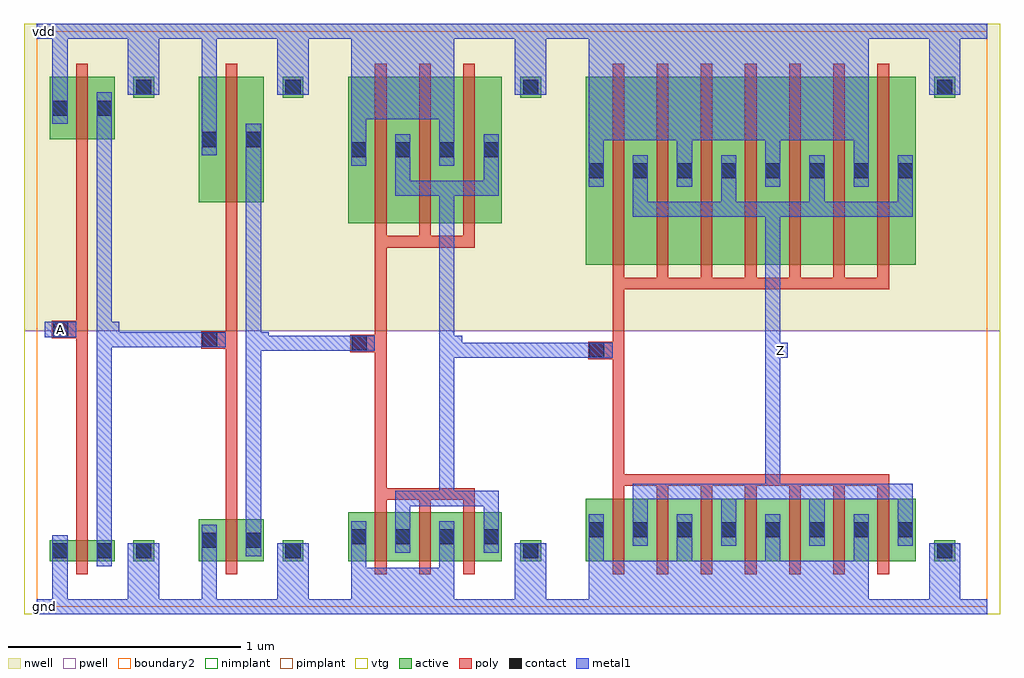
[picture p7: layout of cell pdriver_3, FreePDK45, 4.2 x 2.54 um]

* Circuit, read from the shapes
.subckt pdriver_3 A Z gnd vdd
M1 pinv_6_1/A A gnd gnd nfet w=0.09u l=0.05u
M2 pinv_14_2/A pinv_6_1/A gnd gnd nfet w=0.18u l=0.05u
M3 pinv_15_3/A pinv_14_2/A gnd gnd nfet w=0.21u l=0.05u m=3
M4 Z pinv_15_3/A gnd gnd nfet w=0.27u l=0.05u m=7
M5 pinv_6_1/A A vdd vdd pfet w=0.27u l=0.05u
M6 pinv_14_2/A pinv_6_1/A vdd vdd pfet w=0.54u l=0.05u
M7 pinv_15_3/A pinv_14_2/A vdd vdd pfet w=0.63u l=0.05u m=3
M8 Z pinv_15_3/A vdd vdd pfet w=0.81u l=0.05u m=7
.ends

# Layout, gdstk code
import gdstk
lib = gdstk.Library(unit=1e-6, precision=5e-10)
def R(c, l, rs):  # rectangles x0, y0, x1, y1
    for r in rs: c.add(gdstk.rectangle(r[:2], r[2:], *l))
def A(c, l, x, y, w, h, nx, ny, dx, dy):  # array of equal rectangles
    R(c, l, [(x+i*dx, y+j*dy, x+i*dx+w, y+j*dy+h) for i in range(nx) for j in range(ny)])
active = (1, 0)
pwell = (2, 0)
nwell = (3, 0)
nimplant = (4, 0)
pimplant = (5, 0)
vtg = (6, 0)
poly = (9, 0)
contact = (10, 0)
metal1 = (11, 0)
boundary2 = (239, 0)

contact_11 = lib.new_cell('contact_11')
R(contact_11, active, [(0,0.0225,0.09,0.1125)])
R(contact_11, nwell, [(-0.055,-0.0325,0.145,0.1675)])
R(contact_11, pimplant, [(0,0.0225,0.09,0.1125)])
R(contact_11, contact, [(0.0125,0.035,0.0775,0.1)])
R(contact_11, metal1, [(0.0125,0,0.0775,0.135)])

pmos_m1_w0_270_a_p = lib.new_cell('pmos_m1_w0_270_a_p')
R(pmos_m1_w0_270_a_p, active, [(0,0,0.28,0.27)])
R(pmos_m1_w0_270_a_p, nwell, [(-0.055,-0.055,0.335,0.325)])
R(pmos_m1_w0_270_a_p, pimplant, [(0,0,0.28,0.27)])
R(pmos_m1_w0_270_a_p, vtg, [(-0.055,-0.055,0.335,0.325)])
R(pmos_m1_w0_270_a_p, poly, [(0.115,-0.055,0.165,0.325), (0.115,-0.055,0.165,0.325)])
R(pmos_m1_w0_270_a_p, metal1, [(0.0125,0.0675,0.0775,0.2025), (0.2025,0.0675,0.2675,0.2025)])
R(pmos_m1_w0_270_a_p, boundary2, [(-0.055,-0.055,0.335,0.325)])
pmos_m1_w0_270_a_p.add(gdstk.Reference(contact_11, (0,0.0675)))
pmos_m1_w0_270_a_p.add(gdstk.Reference(contact_11, (0.19,0.0675)))
pmos_m1_w0_270_a_p.add(gdstk.Label('G', (0.14,0.135), layer=9, texttype=0))
pmos_m1_w0_270_a_p.add(gdstk.Label('S', (0.045,0.135), layer=11, texttype=0))
pmos_m1_w0_270_a_p.add(gdstk.Label('D', (0.235,0.135), layer=11, texttype=0))

contact_16 = lib.new_cell('contact_16')
R(contact_16, active, [(0,0.0225,0.09,0.1125)])
R(contact_16, pwell, [(-0.055,-0.0325,0.145,0.1675)])
R(contact_16, nimplant, [(0,0.0225,0.09,0.1125)])
R(contact_16, contact, [(0.0125,0.035,0.0775,0.1)])
R(contact_16, metal1, [(0.0125,0,0.0775,0.135)])

nmos_m1_w0_090_a_p = lib.new_cell('nmos_m1_w0_090_a_p')
R(nmos_m1_w0_090_a_p, active, [(0,0,0.28,0.09)])
R(nmos_m1_w0_090_a_p, pwell, [(-0.055,-0.055,0.335,0.145)])
R(nmos_m1_w0_090_a_p, nimplant, [(0,0,0.28,0.09)])
R(nmos_m1_w0_090_a_p, vtg, [(-0.055,-0.055,0.335,0.145)])
R(nmos_m1_w0_090_a_p, poly, [(0.115,-0.055,0.165,0.145), (0.115,-0.055,0.165,0.145)])
R(nmos_m1_w0_090_a_p, metal1, [(0.0125,-0.0225,0.0775,0.1125), (0.2025,-0.0225,0.2675,0.1125)])
R(nmos_m1_w0_090_a_p, boundary2, [(-0.055,-0.055,0.335,0.145)])
nmos_m1_w0_090_a_p.add(gdstk.Reference(contact_16, (0,-0.0225)))
nmos_m1_w0_090_a_p.add(gdstk.Reference(contact_16, (0.19,-0.0225)))
nmos_m1_w0_090_a_p.add(gdstk.Label('G', (0.14,0.045), layer=9, texttype=0))
nmos_m1_w0_090_a_p.add(gdstk.Label('S', (0.045,0.045), layer=11, texttype=0))
nmos_m1_w0_090_a_p.add(gdstk.Label('D', (0.235,0.045), layer=11, texttype=0))

contact_13 = lib.new_cell('contact_13')
R(contact_13, active, [(0.0225,0,0.1125,0.09)])
R(contact_13, nwell, [(-0.0325,-0.055,0.1675,0.145)])
R(contact_13, nimplant, [(0.0225,0,0.1125,0.09)])
R(contact_13, contact, [(0.035,0.0125,0.1,0.0775)])
R(contact_13, metal1, [(0,0.0125,0.135,0.0775)])

contact_17 = lib.new_cell('contact_17')
R(contact_17, active, [(0.0225,0,0.1125,0.09)])
R(contact_17, pwell, [(-0.0325,-0.055,0.1675,0.145)])
R(contact_17, pimplant, [(0.0225,0,0.1125,0.09)])
R(contact_17, contact, [(0.035,0.0125,0.1,0.0775)])
R(contact_17, metal1, [(0,0.0125,0.135,0.0775)])

contact_12 = lib.new_cell('contact_12')
R(contact_12, poly, [(0.03,0,0.105,0.075)])
R(contact_12, contact, [(0.035,0.005,0.1,0.07)])
R(contact_12, metal1, [(0,0.005,0.135,0.07)])

pinv_5 = lib.new_cell('pinv_5')
R(pinv_5, pwell, [(-0.055,-0.0325,0.6975,1.1875)])
R(pinv_5, nwell, [(-0.055,1.1875,0.6975,2.5075)])
R(pinv_5, vtg, [(-0.055,-0.0325,0.6975,1.1875), (-0.055,1.1875,0.6975,2.5075)])
R(pinv_5, poly, [(0.17,0.34,0.22,1.955), (0.1025,1.155,0.17,1.23)])
R(pinv_5, metal1, [(0,-0.0325,0.6425,0.0325), (0.0675,-0.0325,0.1325,0.1725), (0.3925,0,0.5275,0.24), (0.2575,0.1725,0.3225,2.2125), (0.035,1.16,0.17,1.225), (0.29,1.16,0.355,1.225), (0.0675,2.0775,0.1325,2.5075), (0.3925,2.235,0.5275,2.475), (0,2.4425,0.6425,2.5075)])
R(pinv_5, boundary2, [(0,0,0.6425,2.475)])
pinv_5.add(gdstk.Reference(pmos_m1_w0_270_a_p, (0.055,2.01)))
pinv_5.add(gdstk.Reference(nmos_m1_w0_090_a_p, (0.055,0.195)))
pinv_5.add(gdstk.Reference(contact_13, (0.3925,2.19)))
pinv_5.add(gdstk.Reference(contact_17, (0.3925,0.195)))
pinv_5.add(gdstk.Reference(contact_12, (0.035,1.155)))
pinv_5.add(gdstk.Label('gnd', (0.321,0), layer=11, texttype=0))
pinv_5.add(gdstk.Label('vdd', (0.321,2.475), layer=11, texttype=0))
pinv_5.add(gdstk.Label('A', (0.1025,1.1925), layer=11, texttype=0))
pinv_5.add(gdstk.Label('Z', (0.3225,1.1925), layer=11, texttype=0))

pmos_m1_w0_540_a_p = lib.new_cell('pmos_m1_w0_540_a_p')
R(pmos_m1_w0_540_a_p, active, [(0,0,0.28,0.54)])
R(pmos_m1_w0_540_a_p, nwell, [(-0.055,-0.055,0.335,0.595)])
R(pmos_m1_w0_540_a_p, pimplant, [(0,0,0.28,0.54)])
R(pmos_m1_w0_540_a_p, vtg, [(-0.055,-0.055,0.335,0.595)])
R(pmos_m1_w0_540_a_p, poly, [(0.115,-0.055,0.165,0.595), (0.115,-0.055,0.165,0.595)])
R(pmos_m1_w0_540_a_p, metal1, [(0.0125,0.2025,0.0775,0.3375), (0.2025,0.2025,0.2675,0.3375)])
R(pmos_m1_w0_540_a_p, boundary2, [(-0.055,-0.055,0.335,0.595)])
pmos_m1_w0_540_a_p.add(gdstk.Reference(contact_11, (0,0.2025)))
pmos_m1_w0_540_a_p.add(gdstk.Reference(contact_11, (0.19,0.2025)))
pmos_m1_w0_540_a_p.add(gdstk.Label('G', (0.14,0.27), layer=9, texttype=0))
pmos_m1_w0_540_a_p.add(gdstk.Label('S', (0.045,0.27), layer=11, texttype=0))
pmos_m1_w0_540_a_p.add(gdstk.Label('D', (0.235,0.27), layer=11, texttype=0))

nmos_m1_w0_180_a_p = lib.new_cell('nmos_m1_w0_180_a_p')
R(nmos_m1_w0_180_a_p, active, [(0,0,0.28,0.18)])
R(nmos_m1_w0_180_a_p, pwell, [(-0.055,-0.055,0.335,0.235)])
R(nmos_m1_w0_180_a_p, nimplant, [(0,0,0.28,0.18)])
R(nmos_m1_w0_180_a_p, vtg, [(-0.055,-0.055,0.335,0.235)])
R(nmos_m1_w0_180_a_p, poly, [(0.115,-0.055,0.165,0.235), (0.115,-0.055,0.165,0.235)])
R(nmos_m1_w0_180_a_p, metal1, [(0.0125,0.0225,0.0775,0.1575), (0.2025,0.0225,0.2675,0.1575)])
R(nmos_m1_w0_180_a_p, boundary2, [(-0.055,-0.055,0.335,0.235)])
nmos_m1_w0_180_a_p.add(gdstk.Reference(contact_16, (0,0.0225)))
nmos_m1_w0_180_a_p.add(gdstk.Reference(contact_16, (0.19,0.0225)))
nmos_m1_w0_180_a_p.add(gdstk.Label('G', (0.14,0.09), layer=9, texttype=0))
nmos_m1_w0_180_a_p.add(gdstk.Label('S', (0.045,0.09), layer=11, texttype=0))
nmos_m1_w0_180_a_p.add(gdstk.Label('D', (0.235,0.09), layer=11, texttype=0))

pinv_6 = lib.new_cell('pinv_6')
R(pinv_6, pwell, [(-0.055,-0.0325,0.6975,1.1875)])
R(pinv_6, nwell, [(-0.055,1.1875,0.6975,2.5075)])
R(pinv_6, vtg, [(-0.055,-0.0325,0.6975,1.1875), (-0.055,1.1875,0.6975,2.5075)])
R(pinv_6, poly, [(0.17,0.43,0.22,1.685), (0.1025,1.11,0.17,1.185)])
R(pinv_6, metal1, [(0,-0.0325,0.6425,0.0325), (0.0675,-0.0325,0.1325,0.2175), (0.3925,0,0.5275,0.24), (0.2575,0.2175,0.3225,2.0775), (0.035,1.115,0.17,1.18), (0.29,1.115,0.355,1.18), (0.0675,1.9425,0.1325,2.5075), (0.3925,2.235,0.5275,2.475), (0,2.4425,0.6425,2.5075)])
R(pinv_6, boundary2, [(0,0,0.6425,2.475)])
pinv_6.add(gdstk.Reference(pmos_m1_w0_540_a_p, (0.055,1.74)))
pinv_6.add(gdstk.Reference(nmos_m1_w0_180_a_p, (0.055,0.195)))
pinv_6.add(gdstk.Reference(contact_13, (0.3925,2.19)))
pinv_6.add(gdstk.Reference(contact_17, (0.3925,0.195)))
pinv_6.add(gdstk.Reference(contact_12, (0.035,1.11)))
pinv_6.add(gdstk.Label('gnd', (0.321,0), layer=11, texttype=0))
pinv_6.add(gdstk.Label('vdd', (0.321,2.475), layer=11, texttype=0))
pinv_6.add(gdstk.Label('A', (0.1025,1.1475), layer=11, texttype=0))
pinv_6.add(gdstk.Label('Z', (0.3225,1.1475), layer=11, texttype=0))

pmos_m3_w0_630_a_p = lib.new_cell('pmos_m3_w0_630_a_p')
R(pmos_m3_w0_630_a_p, active, [(0,0,0.66,0.63)])
R(pmos_m3_w0_630_a_p, nwell, [(-0.055,-0.055,0.715,0.685)])
R(pmos_m3_w0_630_a_p, pimplant, [(0,0,0.66,0.63)])
R(pmos_m3_w0_630_a_p, vtg, [(-0.055,-0.055,0.715,0.685)])
A(pmos_m3_w0_630_a_p, poly, 0.115, -0.055, 0.05, 0.74, 3, 1, 0.19, 0)
R(pmos_m3_w0_630_a_p, poly, [(0.115,-0.105,0.545,-0.055)])
R(pmos_m3_w0_630_a_p, metal1, [(0.2025,0.1175,0.6475,0.1825), (0.2025,0.15,0.2675,0.315), (0.5825,0.15,0.6475,0.315), (0.0125,0.315,0.0775,0.48), (0.3925,0.315,0.4575,0.48), (0.0125,0.4475,0.4575,0.5125)])
R(pmos_m3_w0_630_a_p, boundary2, [(-0.055,-0.055,0.715,0.685)])
pmos_m3_w0_630_a_p.add(gdstk.Reference(contact_11, (0,0.2475)))
pmos_m3_w0_630_a_p.add(gdstk.Reference(contact_11, (0.38,0.2475)))
pmos_m3_w0_630_a_p.add(gdstk.Reference(contact_11, (0.19,0.2475)))
pmos_m3_w0_630_a_p.add(gdstk.Reference(contact_11, (0.57,0.2475)))
pmos_m3_w0_630_a_p.add(gdstk.Label('G', (0.33,-0.08), layer=9, texttype=0))
pmos_m3_w0_630_a_p.add(gdstk.Label('S', (0.235,0.48), layer=11, texttype=0))
pmos_m3_w0_630_a_p.add(gdstk.Label('D', (0.425,0.15), layer=11, texttype=0))

nmos_m3_w0_210_a_p = lib.new_cell('nmos_m3_w0_210_a_p')
R(nmos_m3_w0_210_a_p, active, [(0,0,0.66,0.21)])
R(nmos_m3_w0_210_a_p, pwell, [(-0.055,-0.055,0.715,0.265)])
R(nmos_m3_w0_210_a_p, nimplant, [(0,0,0.66,0.21)])
R(nmos_m3_w0_210_a_p, vtg, [(-0.055,-0.055,0.715,0.265)])
A(nmos_m3_w0_210_a_p, poly, 0.115, -0.055, 0.05, 0.32, 3, 1, 0.19, 0)
R(nmos_m3_w0_210_a_p, poly, [(0.115,0.265,0.545,0.315)])
R(nmos_m3_w0_210_a_p, metal1, [(0.0125,-0.0925,0.4575,-0.0275), (0.0125,-0.06,0.0775,0.105), (0.3925,-0.06,0.4575,0.105), (0.2025,0.105,0.2675,0.27), (0.5825,0.105,0.6475,0.27), (0.2025,0.2375,0.6475,0.3025)])
R(nmos_m3_w0_210_a_p, boundary2, [(-0.055,-0.06,0.715,0.27)])
nmos_m3_w0_210_a_p.add(gdstk.Reference(contact_16, (0,0.0375)))
nmos_m3_w0_210_a_p.add(gdstk.Reference(contact_16, (0.38,0.0375)))
nmos_m3_w0_210_a_p.add(gdstk.Reference(contact_16, (0.19,0.0375)))
nmos_m3_w0_210_a_p.add(gdstk.Reference(contact_16, (0.57,0.0375)))
nmos_m3_w0_210_a_p.add(gdstk.Label('G', (0.33,0.29), layer=9, texttype=0))
nmos_m3_w0_210_a_p.add(gdstk.Label('S', (0.235,-0.06), layer=11, texttype=0))
nmos_m3_w0_210_a_p.add(gdstk.Label('D', (0.425,0.27), layer=11, texttype=0))

pinv_14 = lib.new_cell('pinv_14')
R(pinv_14, pwell, [(-0.055,-0.0325,1.0775,1.1875)])
R(pinv_14, nwell, [(-0.055,1.1875,1.0775,2.5075)])
R(pinv_14, vtg, [(-0.055,-0.0325,1.0775,1.1875), (-0.055,1.1875,1.0775,2.5075)])
R(pinv_14, poly, [(0.17,0.51,0.22,1.545), (0.1025,1.095,0.17,1.17)])
R(pinv_14, metal1, [(0,-0.0325,1.0225,0.0325), (0.0675,-0.0325,0.5125,0.1025), (0.7725,0,0.9075,0.24), (0.4475,0.4325,0.5125,1.8325), (0.035,1.1,0.17,1.165), (0.48,1.1,0.545,1.165), (0.0675,2.0975,0.5125,2.5075), (0.7725,2.235,0.9075,2.475), (0,2.4425,1.0225,2.5075)])
R(pinv_14, boundary2, [(0,0,1.0225,2.475)])
pinv_14.add(gdstk.Reference(pmos_m3_w0_630_a_p, (0.055,1.65)))
pinv_14.add(gdstk.Reference(nmos_m3_w0_210_a_p, (0.055,0.195)))
pinv_14.add(gdstk.Reference(contact_13, (0.7725,2.19)))
pinv_14.add(gdstk.Reference(contact_17, (0.7725,0.195)))
pinv_14.add(gdstk.Reference(contact_12, (0.035,1.095)))
pinv_14.add(gdstk.Label('gnd', (0.511,0), layer=11, texttype=0))
pinv_14.add(gdstk.Label('vdd', (0.511,2.475), layer=11, texttype=0))
pinv_14.add(gdstk.Label('A', (0.1025,1.1325), layer=11, texttype=0))
pinv_14.add(gdstk.Label('Z', (0.5125,1.1325), layer=11, texttype=0))

pmos_m7_w0_810_a_p = lib.new_cell('pmos_m7_w0_810_a_p')
R(pmos_m7_w0_810_a_p, active, [(0,0,1.42,0.81)])
R(pmos_m7_w0_810_a_p, nwell, [(-0.055,-0.055,1.475,0.865)])
R(pmos_m7_w0_810_a_p, pimplant, [(0,0,1.42,0.81)])
R(pmos_m7_w0_810_a_p, vtg, [(-0.055,-0.055,1.475,0.865)])
A(pmos_m7_w0_810_a_p, poly, 0.115, -0.055, 0.05, 0.92, 7, 1, 0.19, 0)
R(pmos_m7_w0_810_a_p, poly, [(0.115,-0.105,1.305,-0.055)])
A(pmos_m7_w0_810_a_p, metal1, 0.2025, 0.24, 0.065, 0.165, 4, 1, 0.38, 0)
A(pmos_m7_w0_810_a_p, metal1, 0.0125, 0.405, 0.065, 0.165, 4, 1, 0.38, 0)
R(pmos_m7_w0_810_a_p, metal1, [(0.2025,0.2075,1.4075,0.2725), (0.0125,0.5375,1.2175,0.6025)])
R(pmos_m7_w0_810_a_p, boundary2, [(-0.055,-0.055,1.475,0.865)])
pmos_m7_w0_810_a_p.add(gdstk.Reference(contact_11, (0,0.3375)))
pmos_m7_w0_810_a_p.add(gdstk.Reference(contact_11, (0.38,0.3375)))
pmos_m7_w0_810_a_p.add(gdstk.Reference(contact_11, (0.76,0.3375)))
pmos_m7_w0_810_a_p.add(gdstk.Reference(contact_11, (1.14,0.3375)))
pmos_m7_w0_810_a_p.add(gdstk.Reference(contact_11, (0.19,0.3375)))
pmos_m7_w0_810_a_p.add(gdstk.Reference(contact_11, (0.57,0.3375)))
pmos_m7_w0_810_a_p.add(gdstk.Reference(contact_11, (0.95,0.3375)))
pmos_m7_w0_810_a_p.add(gdstk.Reference(contact_11, (1.33,0.3375)))
pmos_m7_w0_810_a_p.add(gdstk.Label('G', (0.71,-0.08), layer=9, texttype=0))
pmos_m7_w0_810_a_p.add(gdstk.Label('S', (0.615,0.57), layer=11, texttype=0))
pmos_m7_w0_810_a_p.add(gdstk.Label('D', (0.805,0.24), layer=11, texttype=0))

nmos_m7_w0_270_a_p = lib.new_cell('nmos_m7_w0_270_a_p')
R(nmos_m7_w0_270_a_p, active, [(0,0,1.42,0.27)])
R(nmos_m7_w0_270_a_p, pwell, [(-0.055,-0.055,1.475,0.325)])
R(nmos_m7_w0_270_a_p, nimplant, [(0,0,1.42,0.27)])
R(nmos_m7_w0_270_a_p, vtg, [(-0.055,-0.055,1.475,0.325)])
A(nmos_m7_w0_270_a_p, poly, 0.115, -0.055, 0.05, 0.38, 7, 1, 0.19, 0)
R(nmos_m7_w0_270_a_p, poly, [(0.115,0.325,1.305,0.375)])
A(nmos_m7_w0_270_a_p, metal1, 0.0125, -0.03, 0.065, 0.165, 4, 1, 0.38, 0)
A(nmos_m7_w0_270_a_p, metal1, 0.2025, 0.135, 0.065, 0.165, 4, 1, 0.38, 0)
R(nmos_m7_w0_270_a_p, metal1, [(0.0125,-0.0625,1.2175,0.0025), (0.2025,0.2675,1.4075,0.3325)])
R(nmos_m7_w0_270_a_p, boundary2, [(-0.055,-0.055,1.475,0.325)])
nmos_m7_w0_270_a_p.add(gdstk.Reference(contact_16, (0,0.0675)))
nmos_m7_w0_270_a_p.add(gdstk.Reference(contact_16, (0.38,0.0675)))
nmos_m7_w0_270_a_p.add(gdstk.Reference(contact_16, (0.76,0.0675)))
nmos_m7_w0_270_a_p.add(gdstk.Reference(contact_16, (1.14,0.0675)))
nmos_m7_w0_270_a_p.add(gdstk.Reference(contact_16, (0.19,0.0675)))
nmos_m7_w0_270_a_p.add(gdstk.Reference(contact_16, (0.57,0.0675)))
nmos_m7_w0_270_a_p.add(gdstk.Reference(contact_16, (0.95,0.0675)))
nmos_m7_w0_270_a_p.add(gdstk.Reference(contact_16, (1.33,0.0675)))
nmos_m7_w0_270_a_p.add(gdstk.Label('G', (0.71,0.35), layer=9, texttype=0))
nmos_m7_w0_270_a_p.add(gdstk.Label('S', (0.615,-0.03), layer=11, texttype=0))
nmos_m7_w0_270_a_p.add(gdstk.Label('D', (0.805,0.3), layer=11, texttype=0))

pinv_15 = lib.new_cell('pinv_15')
R(pinv_15, pwell, [(-0.055,-0.0325,1.8375,1.1875)])
R(pinv_15, nwell, [(-0.055,1.1875,1.8375,2.5075)])
R(pinv_15, vtg, [(-0.055,-0.0325,1.8375,1.1875), (-0.055,1.1875,1.8375,2.5075)])
R(pinv_15, poly, [(0.17,0.57,0.22,1.365), (0.1025,1.065,0.17,1.14)])
R(pinv_15, metal1, [(0,-0.0325,1.7825,0.0325), (0.0675,-0.0325,1.2725,0.1325), (1.5325,0,1.6675,0.24), (0.8275,0.4625,0.8925,1.7425), (0.035,1.07,0.17,1.135), (0.86,1.07,0.925,1.135), (0.0675,2.0075,1.2725,2.5075), (1.5325,2.235,1.6675,2.475), (0,2.4425,1.7825,2.5075)])
R(pinv_15, boundary2, [(0,0,1.7825,2.475)])
pinv_15.add(gdstk.Reference(pmos_m7_w0_810_a_p, (0.055,1.47)))
pinv_15.add(gdstk.Reference(nmos_m7_w0_270_a_p, (0.055,0.195)))
pinv_15.add(gdstk.Reference(contact_13, (1.5325,2.19)))
pinv_15.add(gdstk.Reference(contact_17, (1.5325,0.195)))
pinv_15.add(gdstk.Reference(contact_12, (0.035,1.065)))
pinv_15.add(gdstk.Label('gnd', (0.891,0), layer=11, texttype=0))
pinv_15.add(gdstk.Label('vdd', (0.891,2.475), layer=11, texttype=0))
pinv_15.add(gdstk.Label('A', (0.1025,1.1025), layer=11, texttype=0))
pinv_15.add(gdstk.Label('Z', (0.8925,1.1025), layer=11, texttype=0))

pdriver_3 = lib.new_cell('pdriver_3')
R(pdriver_3, metal1, [(0,-0.0325,0.065,0.0325), (1.765,1.07,1.83,1.135), (1.7975,1.07,2.41,1.135), (3.1675,1.07,3.2325,1.135), (0.9325,1.1,0.9975,1.165), (0.965,1.1,1.3875,1.165), (1.765,1.1025,1.83,1.1325), (0.29,1.115,0.355,1.18), (0.3225,1.115,0.745,1.18), (0.9325,1.1325,0.9975,1.1475), (0.29,1.1475,0.355,1.1925), (0.035,1.16,0.17,1.225), (0,2.4425,0.065,2.5075)])
R(pdriver_3, boundary2, [(0,0,4.09,2.475)])
pdriver_3.add(gdstk.Reference(pinv_5, (0,0)))
pdriver_3.add(gdstk.Reference(pinv_6, (0.6425,0)))
pdriver_3.add(gdstk.Reference(pinv_14, (1.285,0)))
pdriver_3.add(gdstk.Reference(pinv_15, (2.3075,0)))
pdriver_3.add(gdstk.Label('vdd', (0.0325,2.475), layer=11, texttype=0))
pdriver_3.add(gdstk.Label('gnd', (0.0325,0), layer=11, texttype=0))
pdriver_3.add(gdstk.Label('Z', (3.2,1.1025), layer=11, texttype=0))
pdriver_3.add(gdstk.Label('A', (0.1025,1.1925), layer=11, texttype=0))

lib.write_gds('pdriver_3.gds')
